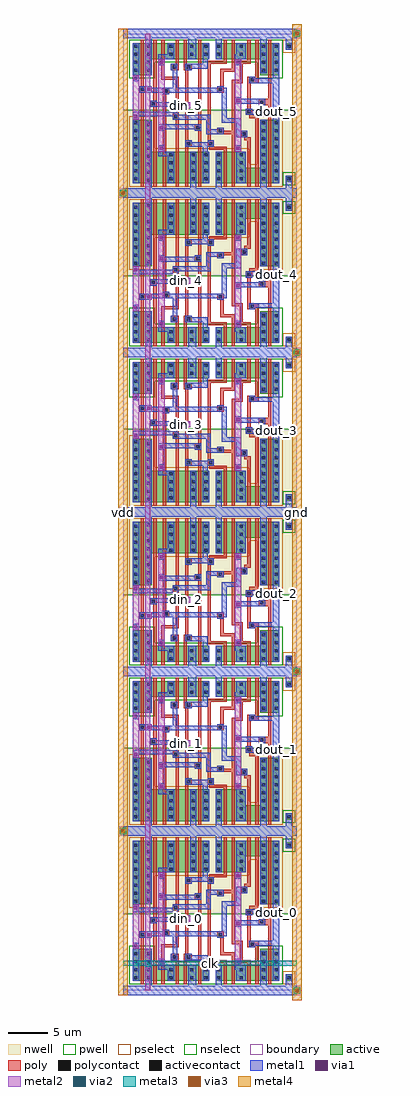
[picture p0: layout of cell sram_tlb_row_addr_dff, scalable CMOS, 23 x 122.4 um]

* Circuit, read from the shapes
.subckt sram_tlb_row_addr_dff clk din_0 din_1 din_2 din_3 din_4 din_5 dout_0 dout_1 dout_2 dout_3 dout_4 dout_5 gnd vdd
M1 gnd clk n1 gnd nfet w=4u l=0.4u
M2 gnd clk n2 gnd nfet w=4u l=0.4u
M3 gnd clk n3 gnd nfet w=4u l=0.4u
M4 gnd clk n4 gnd nfet w=4u l=0.4u
M5 gnd clk n5 gnd nfet w=4u l=0.4u
M6 gnd clk n6 gnd nfet w=4u l=0.4u
M7 n7 din_0 gnd gnd nfet w=2u l=0.4u
M8 n8 din_1 gnd gnd nfet w=2u l=0.4u
M9 n9 din_2 gnd gnd nfet w=2u l=0.4u
M10 n10 din_3 gnd gnd nfet w=2u l=0.4u
M11 n11 din_4 gnd gnd nfet w=2u l=0.4u
M12 n12 din_5 gnd gnd nfet w=2u l=0.4u
M13 n13 n1 n7 gnd nfet w=2u l=0.4u
M14 n14 n2 n8 gnd nfet w=2u l=0.4u
M15 n15 n3 n9 gnd nfet w=2u l=0.4u
M16 n16 n4 n10 gnd nfet w=2u l=0.4u
M17 n17 n5 n11 gnd nfet w=2u l=0.4u
M18 n18 n6 n12 gnd nfet w=2u l=0.4u
M19 n19 clk n13 gnd nfet w=2u l=0.4u
M20 n20 clk n14 gnd nfet w=2u l=0.4u
M21 n21 clk n15 gnd nfet w=2u l=0.4u
M22 n22 clk n16 gnd nfet w=2u l=0.4u
M23 n23 clk n17 gnd nfet w=2u l=0.4u
M24 n24 clk n18 gnd nfet w=2u l=0.4u
M25 gnd n25 n19 gnd nfet w=2u l=0.4u
M26 gnd n26 n20 gnd nfet w=2u l=0.4u
M27 gnd n27 n21 gnd nfet w=2u l=0.4u
M28 gnd n28 n22 gnd nfet w=2u l=0.4u
M29 gnd n29 n23 gnd nfet w=2u l=0.4u
M30 gnd n30 n24 gnd nfet w=2u l=0.4u
M31 n25 n13 gnd gnd nfet w=2u l=0.4u
M32 n26 n14 gnd gnd nfet w=2u l=0.4u
M33 n27 n15 gnd gnd nfet w=2u l=0.4u
M34 n28 n16 gnd gnd nfet w=2u l=0.4u
M35 n29 n17 gnd gnd nfet w=2u l=0.4u
M36 n30 n18 gnd gnd nfet w=2u l=0.4u
M37 n31 n25 gnd gnd nfet w=2u l=0.4u
M38 n32 n26 gnd gnd nfet w=2u l=0.4u
M39 n33 n27 gnd gnd nfet w=2u l=0.4u
M40 n34 n28 gnd gnd nfet w=2u l=0.4u
M41 n35 n29 gnd gnd nfet w=2u l=0.4u
M42 n36 n30 gnd gnd nfet w=2u l=0.4u
M43 n37 clk n31 gnd nfet w=2u l=0.4u
M44 n38 clk n32 gnd nfet w=2u l=0.4u
M45 n39 clk n33 gnd nfet w=2u l=0.4u
M46 n40 clk n34 gnd nfet w=2u l=0.4u
M47 n41 clk n35 gnd nfet w=2u l=0.4u
M48 n42 clk n36 gnd nfet w=2u l=0.4u
M49 n43 n1 n37 gnd nfet w=2u l=0.4u
M50 n44 n2 n38 gnd nfet w=2u l=0.4u
M51 n45 n3 n39 gnd nfet w=2u l=0.4u
M52 n46 n4 n40 gnd nfet w=2u l=0.4u
M53 n47 n5 n41 gnd nfet w=2u l=0.4u
M54 n48 n6 n42 gnd nfet w=2u l=0.4u
M55 gnd dout_0 n43 gnd nfet w=2u l=0.4u
M56 gnd dout_1 n44 gnd nfet w=2u l=0.4u
M57 gnd dout_2 n45 gnd nfet w=2u l=0.4u
M58 gnd dout_3 n46 gnd nfet w=2u l=0.4u
M59 gnd dout_4 n47 gnd nfet w=2u l=0.4u
M60 gnd dout_5 n48 gnd nfet w=2u l=0.4u
M61 dout_0 n37 gnd gnd nfet w=4u l=0.4u
M62 dout_1 n38 gnd gnd nfet w=4u l=0.4u
M63 dout_2 n39 gnd gnd nfet w=4u l=0.4u
M64 dout_3 n40 gnd gnd nfet w=4u l=0.4u
M65 dout_4 n41 gnd gnd nfet w=4u l=0.4u
M66 dout_5 n42 gnd gnd nfet w=4u l=0.4u
M67 vdd clk n1 vdd pfet w=8u l=0.4u
M68 vdd clk n2 vdd pfet w=8u l=0.4u
M69 vdd clk n3 vdd pfet w=8u l=0.4u
M70 vdd clk n4 vdd pfet w=8u l=0.4u
M71 vdd clk n5 vdd pfet w=8u l=0.4u
M72 vdd clk n6 vdd pfet w=8u l=0.4u
M73 n49 din_0 vdd vdd pfet w=4u l=0.4u
M74 n50 din_1 vdd vdd pfet w=4u l=0.4u
M75 n51 din_2 vdd vdd pfet w=4u l=0.4u
M76 n52 din_3 vdd vdd pfet w=4u l=0.4u
M77 n53 din_4 vdd vdd pfet w=4u l=0.4u
M78 n54 din_5 vdd vdd pfet w=4u l=0.4u
M79 n13 clk n49 vdd pfet w=4u l=0.4u
M80 n14 clk n50 vdd pfet w=4u l=0.4u
M81 n15 clk n51 vdd pfet w=4u l=0.4u
M82 n16 clk n52 vdd pfet w=4u l=0.4u
M83 n17 clk n53 vdd pfet w=4u l=0.4u
M84 n18 clk n54 vdd pfet w=4u l=0.4u
M85 n55 n1 n13 vdd pfet w=4u l=0.4u
M86 n56 n2 n14 vdd pfet w=4u l=0.4u
M87 n57 n3 n15 vdd pfet w=4u l=0.4u
M88 n58 n4 n16 vdd pfet w=4u l=0.4u
M89 n59 n5 n17 vdd pfet w=4u l=0.4u
M90 n60 n6 n18 vdd pfet w=4u l=0.4u
M91 vdd n25 n55 vdd pfet w=4u l=0.4u
M92 vdd n26 n56 vdd pfet w=4u l=0.4u
M93 vdd n27 n57 vdd pfet w=4u l=0.4u
M94 vdd n28 n58 vdd pfet w=4u l=0.4u
M95 vdd n29 n59 vdd pfet w=4u l=0.4u
M96 vdd n30 n60 vdd pfet w=4u l=0.4u
M97 n25 n13 vdd vdd pfet w=4u l=0.4u
M98 n26 n14 vdd vdd pfet w=4u l=0.4u
M99 n27 n15 vdd vdd pfet w=4u l=0.4u
M100 n28 n16 vdd vdd pfet w=4u l=0.4u
M101 n29 n17 vdd vdd pfet w=4u l=0.4u
M102 n30 n18 vdd vdd pfet w=4u l=0.4u
M103 n61 n25 vdd vdd pfet w=4u l=0.4u
M104 n62 n26 vdd vdd pfet w=4u l=0.4u
M105 n63 n27 vdd vdd pfet w=4u l=0.4u
M106 n64 n28 vdd vdd pfet w=4u l=0.4u
M107 n65 n29 vdd vdd pfet w=4u l=0.4u
M108 n66 n30 vdd vdd pfet w=4u l=0.4u
M109 n37 n1 n61 vdd pfet w=4u l=0.4u
M110 n38 n2 n62 vdd pfet w=4u l=0.4u
M111 n39 n3 n63 vdd pfet w=4u l=0.4u
M112 n40 n4 n64 vdd pfet w=4u l=0.4u
M113 n41 n5 n65 vdd pfet w=4u l=0.4u
M114 n42 n6 n66 vdd pfet w=4u l=0.4u
M115 n67 clk n37 vdd pfet w=2u l=0.4u
M116 n68 clk n38 vdd pfet w=2u l=0.4u
M117 n69 clk n39 vdd pfet w=2u l=0.4u
M118 n70 clk n40 vdd pfet w=2u l=0.4u
M119 n71 clk n41 vdd pfet w=2u l=0.4u
M120 n72 clk n42 vdd pfet w=2u l=0.4u
M121 vdd dout_0 n67 vdd pfet w=2u l=0.4u
M122 vdd dout_1 n68 vdd pfet w=2u l=0.4u
M123 vdd dout_2 n69 vdd pfet w=2u l=0.4u
M124 vdd dout_3 n70 vdd pfet w=2u l=0.4u
M125 vdd dout_4 n71 vdd pfet w=2u l=0.4u
M126 vdd dout_5 n72 vdd pfet w=2u l=0.4u
M127 dout_0 n37 vdd vdd pfet w=8u l=0.4u
M128 dout_1 n38 vdd vdd pfet w=8u l=0.4u
M129 dout_2 n39 vdd vdd pfet w=8u l=0.4u
M130 dout_3 n40 vdd vdd pfet w=8u l=0.4u
M131 dout_4 n41 vdd vdd pfet w=8u l=0.4u
M132 dout_5 n42 vdd vdd pfet w=8u l=0.4u
.ends

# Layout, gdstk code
import gdstk
lib = gdstk.Library(unit=1e-6, precision=1e-09)
def R(c, l, rs):  # rectangles x0, y0, x1, y1
    for r in rs: c.add(gdstk.rectangle(r[:2], r[2:], *l))
def A(c, l, x, y, w, h, nx, ny, dx, dy):  # array of equal rectangles
    R(c, l, [(x+i*dx, y+j*dy, x+i*dx+w, y+j*dy+h) for i in range(nx) for j in range(ny)])
via3 = (30, 0)
metal4 = (31, 0)
pwell = (41, 0)
nwell = (42, 0)
active = (43, 0)
pselect = (44, 0)
nselect = (45, 0)
poly = (46, 0)
polycontact = (47, 0)
activecontact = (48, 0)
metal1 = (49, 0)
via1 = (50, 0)
metal2 = (51, 0)
via2 = (61, 0)
metal3 = (62, 0)
boundary = (63, 0)

dff = lib.new_cell('dff')
R(dff, pwell, [(0,-0.6,21.8,9.6)])
R(dff, nwell, [(0,9.6,21.8,20.6)])
R(dff, active, [(1.2,1.2,10.8,3.2), (11.6,1.2,19.6,3.2), (20.4,1.2,21.2,2), (1.2,3.2,3.6,5.2), (17.2,3.2,19.6,5.2), (1.2,10.8,3.6,14.8), (17.2,10.8,19.6,16.8), (1.2,14.8,10.8,18.8), (11.6,14.8,15.4,16.8), (11.6,16.8,19.6,18.8), (20.4,17.8,21.2,18.6)])
R(dff, pselect, [(20,0.8,21.6,2.4), (0.8,10.4,4,14.4), (16.8,10.4,20,16.4), (0.8,14.4,15.8,16.4), (0.8,16.4,20,19.2)])
R(dff, nselect, [(0.8,0.8,20,3.6), (0.8,3.6,4,5.6), (16.8,3.6,20,5.6), (20,17.4,21.6,19)])
R(dff, poly, [(2.2,0.8,2.6,6.6), (3.8,0.8,4.2,8.4), (4.8,0.8,5.2,5.4), (6.6,0.8,7,3.8), (7.6,0.8,8,3.8), (9.4,0.8,9.8,11.4), (12.6,0.8,13,3.4), (13.6,0.8,14,4.4), (15.6,0.8,16,3.4), (16.6,0.8,17,5.4), (18.2,0.8,18.6,8.2), (10.6,3.4,13,3.8), (14.6,3.4,16,3.8), (6,3.8,7,4.6), (7.6,3.8,8.6,4.6), (10.6,3.8,11,13.4), (14.6,3.8,15,5.8), (12.2,4.4,14,4.8), (7.8,4.6,8.2,13.4), (12.2,4.8,12.6,6.6), (4.8,5.4,7,5.8), (15.6,5.4,17,6.2), (6.6,5.8,7,10), (13.6,5.8,15,6.2), (13.6,6.2,14,12.2), (15.6,6.2,16,9.4), (2,6.6,2.8,7.4), (11.8,6.6,12.6,7.4), (5,6.8,5.8,7.6), (2.2,7.4,2.6,19.2), (5,7.6,5.4,19.2), (17,8.2,18.6,9), (3.4,8.4,4.2,9.2), (18.2,9,18.6,19.2), (3.8,9.2,4.2,19.2), (15.4,9.4,16.2,10.2), (6.2,10,7,10.8), (15.8,10.2,17,10.6), (16.6,10.6,17,19.2), (6.6,10.8,7,19.2), (9,11.4,9.8,12.2), (11.8,11.8,12.6,12.2), (9.4,12.2,9.8,19.2), (11.8,12.2,14,12.6), (14.8,12.2,15.6,13), (13.6,12.6,14,19.2), (15.2,13,16,13.4), (7.8,13.4,8.6,14.2), (10.6,13.4,11.4,14.2), (15.6,13.4,16,19.2), (7.8,14.2,8.2,19.2), (10.8,14.2,13,14.6), (12.6,14.6,13,19.2)])
R(dff, polycontact, [(6.2,4,6.6,4.4), (8,4,8.4,4.4), (16,5.6,16.4,6), (2.2,6.8,2.6,7.2), (12,6.8,12.4,7.2), (5.2,7,5.6,7.4), (17.2,8.4,17.6,8.8), (3.6,8.6,4,9), (15.6,9.6,16,10), (6.4,10.2,6.8,10.6), (9.2,11.6,9.6,12), (12,12,12.4,12.4), (15,12.4,15.4,12.8), (8,13.6,8.4,14), (10.8,13.6,11.2,14)])
A(dff, activecontact, 1.4, 1.4, 0.4, 0.4, 1, 4, 0, 1)
A(dff, activecontact, 3, 1.4, 0.4, 0.4, 1, 4, 0, 1)
A(dff, activecontact, 11.8, 1.4, 0.4, 0.4, 3, 2, 2.8, 1)
A(dff, activecontact, 19, 1.4, 0.4, 0.4, 1, 4, 0, 1)
A(dff, activecontact, 1.4, 11, 0.4, 0.4, 1, 8, 0, 1)
A(dff, activecontact, 17.4, 11, 0.4, 0.4, 1, 7, 0, 1)
A(dff, activecontact, 19, 11, 0.4, 0.4, 1, 7, 0, 1)
A(dff, activecontact, 3, 11.2, 0.4, 0.4, 1, 8, 0, 1)
A(dff, activecontact, 5.8, 15, 0.4, 0.4, 1, 4, 0, 1)
A(dff, activecontact, 8.6, 15, 0.4, 0.4, 3, 4, 1.6, 1)
A(dff, activecontact, 14.6, 15, 0.4, 0.4, 1, 4, 0, 1)
A(dff, activecontact, 17.4, 18, 0.4, 0.4, 3, 1, 1.6, 0)
R(dff, activecontact, [(5.8,1.4,6.2,1.8), (8.4,1.4,8.8,1.8), (10.2,1.4,10.6,1.8), (20.6,1.4,21,1.8), (5.8,2.4,6.2,2.8), (8.4,2.4,8.8,2.8), (10.2,2.4,10.6,2.8), (17.4,3.4,17.8,3.8), (17.4,4.4,17.8,4.8)])
R(dff, metal1, [(0,-0.6,21.8,0.6), (0,-0.6,21.8,0.6), (2.8,0.6,3.6,5.2), (8.2,0.6,9.2,3.2), (11.6,0.6,12.4,3.2), (17.2,0.6,18,5), (20.4,0.6,21.2,2), (1.2,1.2,2,6), (5.6,1.2,6.4,2.6), (10,1.2,10.8,3.2), (14.2,1.2,15.4,2.6), (18.8,1.2,19.6,5.6), (4.4,2.6,6.4,3.2), (14,2.6,15.4,3.2), (4.4,3.2,5.2,4), (10,3.2,10.6,3.8), (14,3.2,14.8,4), (6,3.8,6.8,4.6), (7.8,3.8,10.6,4.4), (7.8,4.4,8.6,4.6), (6.2,4.6,6.8,6.8), (15.8,5.4,16.6,5.6), (15.8,5.6,19.6,6.2), (18.8,6.2,19.6,9.6), (2,6.6,3.6,6.8), (11.8,6.6,12.6,6.8), (2,6.8,13,7.4), (5,7.4,5.8,7.6), (12.4,7.4,13,10.6), (14,8,14.8,8.2), (14,8.2,17.8,8.8), (3.4,8.4,4.2,8.6), (3.4,8.6,8.4,9.2), (17,8.8,17.8,9), (7.6,9.2,8.4,9.4), (15.4,9.4,16.2,9.6), (15.4,9.6,19.6,10.2), (1.2,9.8,6.8,10), (1.2,10,7,10.2), (1.2,10.2,11,10.4), (18.8,10.2,19.6,18.8), (1.2,10.4,2,18.8), (6.2,10.4,11,10.8), (12.4,10.6,14.8,11.2), (10.4,10.8,11,12), (17.2,10.8,18,19.4), (2.8,11,3.6,19.4), (14.2,11.2,14.8,12.2), (4.4,11.4,9.8,12), (11.8,11.8,12.6,12), (4.4,12,5.2,12.2), (9,12,9.8,12.2), (10.4,12,12.6,12.6), (14.2,12.2,15.6,13), (7.8,13.4,8.6,13.6), (10.6,13.4,11.4,13.6), (7.8,13.6,11.4,14.2), (4.4,14,5.2,14.8), (14,14,14.8,14.8), (10,14.2,10.6,14.8), (4.4,14.8,6.4,15.4), (8.4,14.8,9.2,19.4), (10,14.8,10.8,18.8), (11.6,14.8,12.4,19.4), (14.2,14.8,15.4,18.8), (5.6,15.4,6.4,18.8), (20.4,17.8,21.2,19.4), (0,19.4,21.8,20.6), (0,19.4,21.8,20.6)])
R(dff, via1, [(4.6,3.4,5,3.8), (14.2,3.4,14.6,3.8), (1.4,5.4,1.8,5.8), (3,6.8,3.4,7.2), (14.2,8.2,14.6,8.6), (7.8,8.8,8.2,9.2), (19,9.6,19.4,10), (1.4,10.2,1.8,10.6), (4.6,11.6,5,12), (4.6,14.2,5,14.6), (14.2,14.2,14.6,14.6)])
R(dff, metal2, [(4.4,3.2,5.2,14.8), (14,3.2,14.8,14.8), (1.2,5.2,2,10.8), (2.8,6.6,3.6,7.4), (2.8,6.6,3.6,7.4), (7.6,8.6,8.4,9.4), (7.6,8.6,8.4,9.4), (18.8,9.4,19.6,10.2), (18.8,9.4,19.6,10.2)])
R(dff, boundary, [(0,0,21.8,20)])
dff.add(gdstk.Label('clk', (3,6.8), layer=51, texttype=0))
dff.add(gdstk.Label('D', (8,9), layer=51, texttype=0))
dff.add(gdstk.Label('Q', (19.2,9.8), layer=51, texttype=0))
dff.add(gdstk.Label('vdd', (6.4,19.6), layer=49, texttype=0))
dff.add(gdstk.Label('gnd', (8.8,0.2), layer=49, texttype=0))
dff.add(gdstk.Label('D', (8,9), layer=51, texttype=0))
dff.add(gdstk.Label('Q', (19.2,9.8), layer=51, texttype=0))
dff.add(gdstk.Label('clk', (3.2,7), layer=51, texttype=0))
dff.add(gdstk.Label('vdd', (10.9,20), layer=49, texttype=0))
dff.add(gdstk.Label('gnd', (10.9,0), layer=49, texttype=0))

sram_tlb_contact_17 = lib.new_cell('sram_tlb_contact_17')
R(sram_tlb_contact_17, metal1, [(0,0,0.8,0.8)])
R(sram_tlb_contact_17, via1, [(0.2,0.2,0.6,0.6)])
R(sram_tlb_contact_17, metal2, [(0,0,0.8,0.8)])
R(sram_tlb_contact_17, boundary, [(0,0,0.8,0.8)])

sram_tlb_contact_18 = lib.new_cell('sram_tlb_contact_18')
R(sram_tlb_contact_18, metal2, [(0,0,0.8,0.8)])
R(sram_tlb_contact_18, via2, [(0.2,0.2,0.6,0.6)])
R(sram_tlb_contact_18, metal3, [(0,0,0.8,0.8)])
R(sram_tlb_contact_18, boundary, [(0,0,0.8,0.8)])

sram_tlb_contact_21 = lib.new_cell('sram_tlb_contact_21')
R(sram_tlb_contact_21, via3, [(0.4,0.4,0.8,0.8)])
R(sram_tlb_contact_21, metal4, [(0,0,1.2,1.2)])
R(sram_tlb_contact_21, metal3, [(0.2,0.2,1,1)])
R(sram_tlb_contact_21, boundary, [(0,0,1.2,1.2)])

sram_tlb_row_addr_dff = lib.new_cell('sram_tlb_row_addr_dff')
R(sram_tlb_row_addr_dff, metal4, [(21.2,-1.2,22.4,121.2), (-0.6,-0.6,0.6,120.6)])
R(sram_tlb_row_addr_dff, metal2, [(2.8,0,3.4,120), (7.6,8.6,8.4,9.4), (18.8,9.4,19.6,10.2), (18.8,29.8,19.6,30.6), (7.6,30.6,8.4,31.4), (7.6,48.6,8.4,49.4), (18.8,49.4,19.6,50.2), (18.8,69.8,19.6,70.6), (7.6,70.6,8.4,71.4), (7.6,88.6,8.4,89.4), (18.8,89.4,19.6,90.2), (18.8,109.8,19.6,110.6), (7.6,110.6,8.4,111.4)])
R(sram_tlb_row_addr_dff, metal3, [(0,3.1,21.8,3.7)])
R(sram_tlb_row_addr_dff, boundary, [(0,0,21.8,120)])
sram_tlb_row_addr_dff.add(gdstk.Reference(dff, (0,0)))
sram_tlb_row_addr_dff.add(gdstk.Reference(dff, (0,40), x_reflection=True))
sram_tlb_row_addr_dff.add(gdstk.Reference(dff, (0,40)))
sram_tlb_row_addr_dff.add(gdstk.Reference(dff, (0,80), x_reflection=True))
sram_tlb_row_addr_dff.add(gdstk.Reference(dff, (0,80)))
sram_tlb_row_addr_dff.add(gdstk.Reference(dff, (0,120), x_reflection=True))
sram_tlb_row_addr_dff.add(gdstk.Reference(sram_tlb_contact_17, (-0.4,19.6)))
sram_tlb_row_addr_dff.add(gdstk.Reference(sram_tlb_contact_18, (-0.4,19.6)))
sram_tlb_row_addr_dff.add(gdstk.Reference(sram_tlb_contact_21, (-0.6,19.4)))
sram_tlb_row_addr_dff.add(gdstk.Reference(sram_tlb_contact_17, (-0.4,19.6)))
sram_tlb_row_addr_dff.add(gdstk.Reference(sram_tlb_contact_18, (-0.4,19.6)))
sram_tlb_row_addr_dff.add(gdstk.Reference(sram_tlb_contact_21, (-0.6,19.4)))
sram_tlb_row_addr_dff.add(gdstk.Reference(sram_tlb_contact_17, (-0.4,59.6)))
sram_tlb_row_addr_dff.add(gdstk.Reference(sram_tlb_contact_18, (-0.4,59.6)))
sram_tlb_row_addr_dff.add(gdstk.Reference(sram_tlb_contact_21, (-0.6,59.4)))
sram_tlb_row_addr_dff.add(gdstk.Reference(sram_tlb_contact_17, (-0.4,59.6)))
sram_tlb_row_addr_dff.add(gdstk.Reference(sram_tlb_contact_18, (-0.4,59.6)))
sram_tlb_row_addr_dff.add(gdstk.Reference(sram_tlb_contact_21, (-0.6,59.4)))
sram_tlb_row_addr_dff.add(gdstk.Reference(sram_tlb_contact_17, (-0.4,99.6)))
sram_tlb_row_addr_dff.add(gdstk.Reference(sram_tlb_contact_18, (-0.4,99.6)))
sram_tlb_row_addr_dff.add(gdstk.Reference(sram_tlb_contact_21, (-0.6,99.4)))
sram_tlb_row_addr_dff.add(gdstk.Reference(sram_tlb_contact_17, (-0.4,99.6)))
sram_tlb_row_addr_dff.add(gdstk.Reference(sram_tlb_contact_18, (-0.4,99.6)))
sram_tlb_row_addr_dff.add(gdstk.Reference(sram_tlb_contact_21, (-0.6,99.4)))
sram_tlb_row_addr_dff.add(gdstk.Reference(sram_tlb_contact_17, (21.4,-0.4)))
sram_tlb_row_addr_dff.add(gdstk.Reference(sram_tlb_contact_18, (21.4,-0.4)))
sram_tlb_row_addr_dff.add(gdstk.Reference(sram_tlb_contact_21, (21.2,-0.6)))
sram_tlb_row_addr_dff.add(gdstk.Reference(sram_tlb_contact_17, (21.4,39.6)))
sram_tlb_row_addr_dff.add(gdstk.Reference(sram_tlb_contact_18, (21.4,39.6)))
sram_tlb_row_addr_dff.add(gdstk.Reference(sram_tlb_contact_21, (21.2,39.4)))
sram_tlb_row_addr_dff.add(gdstk.Reference(sram_tlb_contact_17, (21.4,39.6)))
sram_tlb_row_addr_dff.add(gdstk.Reference(sram_tlb_contact_18, (21.4,39.6)))
sram_tlb_row_addr_dff.add(gdstk.Reference(sram_tlb_contact_21, (21.2,39.4)))
sram_tlb_row_addr_dff.add(gdstk.Reference(sram_tlb_contact_17, (21.4,79.6)))
sram_tlb_row_addr_dff.add(gdstk.Reference(sram_tlb_contact_18, (21.4,79.6)))
sram_tlb_row_addr_dff.add(gdstk.Reference(sram_tlb_contact_21, (21.2,79.4)))
sram_tlb_row_addr_dff.add(gdstk.Reference(sram_tlb_contact_17, (21.4,79.6)))
sram_tlb_row_addr_dff.add(gdstk.Reference(sram_tlb_contact_18, (21.4,79.6)))
sram_tlb_row_addr_dff.add(gdstk.Reference(sram_tlb_contact_21, (21.2,79.4)))
sram_tlb_row_addr_dff.add(gdstk.Reference(sram_tlb_contact_17, (21.4,119.6)))
sram_tlb_row_addr_dff.add(gdstk.Reference(sram_tlb_contact_18, (21.4,119.6)))
sram_tlb_row_addr_dff.add(gdstk.Reference(sram_tlb_contact_21, (21.2,119.4)))
sram_tlb_row_addr_dff.add(gdstk.Reference(sram_tlb_contact_18, (2.8,3)))
sram_tlb_row_addr_dff.add(gdstk.Label('vdd', (0,60), layer=31, texttype=0))
sram_tlb_row_addr_dff.add(gdstk.Label('gnd', (21.8,60), layer=31, texttype=0))
sram_tlb_row_addr_dff.add(gdstk.Label('din_0', (8,9), layer=51, texttype=0))
sram_tlb_row_addr_dff.add(gdstk.Label('dout_0', (19.2,9.8), layer=51, texttype=0))
sram_tlb_row_addr_dff.add(gdstk.Label('din_1', (8,31), layer=51, texttype=0))
sram_tlb_row_addr_dff.add(gdstk.Label('dout_1', (19.2,30.2), layer=51, texttype=0))
sram_tlb_row_addr_dff.add(gdstk.Label('din_2', (8,49), layer=51, texttype=0))
sram_tlb_row_addr_dff.add(gdstk.Label('dout_2', (19.2,49.8), layer=51, texttype=0))
sram_tlb_row_addr_dff.add(gdstk.Label('din_3', (8,71), layer=51, texttype=0))
sram_tlb_row_addr_dff.add(gdstk.Label('dout_3', (19.2,70.2), layer=51, texttype=0))
sram_tlb_row_addr_dff.add(gdstk.Label('din_4', (8,89), layer=51, texttype=0))
sram_tlb_row_addr_dff.add(gdstk.Label('dout_4', (19.2,89.8), layer=51, texttype=0))
sram_tlb_row_addr_dff.add(gdstk.Label('din_5', (8,111), layer=51, texttype=0))
sram_tlb_row_addr_dff.add(gdstk.Label('dout_5', (19.2,110.2), layer=51, texttype=0))
sram_tlb_row_addr_dff.add(gdstk.Label('clk', (10.9,3.4), layer=62, texttype=0))

lib.write_gds('sram_tlb_row_addr_dff.gds')
